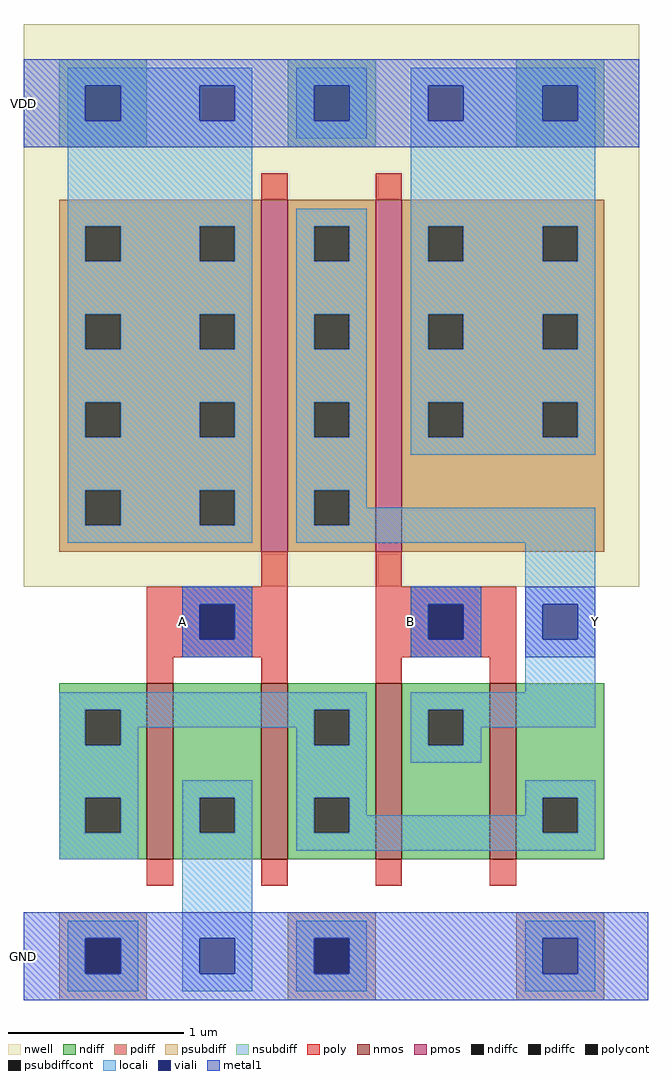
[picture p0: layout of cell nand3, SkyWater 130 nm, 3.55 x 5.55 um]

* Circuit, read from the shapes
.subckt nand3 A B Y VDD GND
XM1 GND A n1 GND sky130_fd_pr__nfet_01v8 w=1 l=0.15 m=2
XM2 Y B n1 GND sky130_fd_pr__nfet_01v8 w=1 l=0.15 m=2
XM3 Y A VDD n2 sky130_fd_pr__pfet_01v8 w=2 l=0.15
XM4 VDD B Y n2 sky130_fd_pr__pfet_01v8 w=2 l=0.15
.ends

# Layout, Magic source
magic
tech sky130A
<< nwell >>
rect -20 45 330 365
<< nmos >>
rect 50 -110 65 -10
rect 115 -110 130 -10
rect 180 -110 195 -10
rect 245 -110 260 -10
<< pmos >>
rect 115 65 130 265
rect 180 65 195 265
<< ndiff >>
rect 0 -25 50 -10
rect 0 -45 15 -25
rect 35 -45 50 -25
rect 0 -75 50 -45
rect 0 -95 15 -75
rect 35 -95 50 -75
rect 0 -110 50 -95
rect 65 -75 115 -10
rect 65 -95 80 -75
rect 100 -95 115 -75
rect 65 -110 115 -95
rect 130 -25 180 -10
rect 130 -45 145 -25
rect 165 -45 180 -25
rect 130 -75 180 -45
rect 130 -95 145 -75
rect 165 -95 180 -75
rect 130 -110 180 -95
rect 195 -25 245 -10
rect 195 -45 210 -25
rect 230 -45 245 -25
rect 195 -110 245 -45
rect 260 -75 310 -10
rect 260 -95 275 -75
rect 295 -95 310 -75
rect 260 -110 310 -95
<< pdiff >>
rect 0 250 115 265
rect 0 230 15 250
rect 35 230 80 250
rect 100 230 115 250
rect 0 200 115 230
rect 0 180 15 200
rect 35 180 80 200
rect 100 180 115 200
rect 0 150 115 180
rect 0 130 15 150
rect 35 130 80 150
rect 100 130 115 150
rect 0 100 115 130
rect 0 80 15 100
rect 35 80 80 100
rect 100 80 115 100
rect 0 65 115 80
rect 130 250 180 265
rect 130 230 145 250
rect 165 230 180 250
rect 130 200 180 230
rect 130 180 145 200
rect 165 180 180 200
rect 130 150 180 180
rect 130 130 145 150
rect 165 130 180 150
rect 130 100 180 130
rect 130 80 145 100
rect 165 80 180 100
rect 130 65 180 80
rect 195 250 310 265
rect 195 230 210 250
rect 230 230 275 250
rect 295 230 310 250
rect 195 200 310 230
rect 195 180 210 200
rect 230 180 275 200
rect 295 180 310 200
rect 195 150 310 180
rect 195 130 210 150
rect 230 130 275 150
rect 295 130 310 150
rect 195 65 310 130
<< ndiffc >>
rect 15 -45 35 -25
rect 15 -95 35 -75
rect 80 -95 100 -75
rect 145 -45 165 -25
rect 145 -95 165 -75
rect 210 -45 230 -25
rect 275 -95 295 -75
<< pdiffc >>
rect 15 230 35 250
rect 80 230 100 250
rect 15 180 35 200
rect 80 180 100 200
rect 15 130 35 150
rect 80 130 100 150
rect 15 80 35 100
rect 80 80 100 100
rect 145 230 165 250
rect 145 180 165 200
rect 145 130 165 150
rect 145 80 165 100
rect 210 230 230 250
rect 275 230 295 250
rect 210 180 230 200
rect 275 180 295 200
rect 210 130 230 150
rect 275 130 295 150
<< psubdiff >>
rect 0 -155 50 -140
rect 0 -175 15 -155
rect 35 -175 50 -155
rect 0 -190 50 -175
rect 130 -155 180 -140
rect 130 -175 145 -155
rect 165 -175 180 -155
rect 130 -190 180 -175
rect 260 -190 310 -140
<< nsubdiff >>
rect 0 295 50 345
rect 130 295 180 345
rect 260 295 310 345
<< psubdiffcont >>
rect 15 -175 35 -155
rect 145 -175 165 -155
<< poly >>
rect 115 265 130 280
rect 180 265 195 280
rect 115 45 130 65
rect 50 35 130 45
rect 50 15 80 35
rect 100 15 130 35
rect 50 5 130 15
rect 50 -10 65 5
rect 115 -10 130 5
rect 180 45 195 65
rect 180 35 260 45
rect 180 15 210 35
rect 230 15 260 35
rect 180 5 260 15
rect 180 -10 195 5
rect 245 -10 260 5
rect 50 -125 65 -110
rect 115 -125 130 -110
rect 180 -125 195 -110
rect 245 -125 260 -110
<< polycont >>
rect 80 15 100 35
rect 210 15 230 35
<< locali >>
rect 5 330 110 340
rect 5 310 15 330
rect 35 310 80 330
rect 100 310 110 330
rect 5 250 110 310
rect 135 330 175 340
rect 135 310 145 330
rect 165 310 175 330
rect 135 300 175 310
rect 200 330 305 340
rect 200 310 210 330
rect 230 310 275 330
rect 295 310 305 330
rect 5 230 15 250
rect 35 230 80 250
rect 100 230 110 250
rect 5 200 110 230
rect 5 180 15 200
rect 35 180 80 200
rect 100 180 110 200
rect 5 150 110 180
rect 5 130 15 150
rect 35 130 80 150
rect 100 130 110 150
rect 5 100 110 130
rect 5 80 15 100
rect 35 80 80 100
rect 100 80 110 100
rect 5 70 110 80
rect 135 250 175 260
rect 135 230 145 250
rect 165 230 175 250
rect 135 200 175 230
rect 135 180 145 200
rect 165 180 175 200
rect 135 150 175 180
rect 135 130 145 150
rect 165 130 175 150
rect 135 100 175 130
rect 200 250 305 310
rect 200 230 210 250
rect 230 230 275 250
rect 295 230 305 250
rect 200 200 305 230
rect 200 180 210 200
rect 230 180 275 200
rect 295 180 305 200
rect 200 150 305 180
rect 200 130 210 150
rect 230 130 275 150
rect 295 130 305 150
rect 200 120 305 130
rect 135 80 145 100
rect 165 90 175 100
rect 165 80 305 90
rect 135 70 305 80
rect 70 35 110 45
rect 70 15 80 35
rect 100 15 110 35
rect 70 5 110 15
rect 200 35 240 45
rect 200 15 210 35
rect 230 15 240 35
rect 200 5 240 15
rect 265 35 305 70
rect 265 15 275 35
rect 295 15 305 35
rect 265 -15 305 15
rect 0 -25 175 -15
rect 0 -45 15 -25
rect 35 -35 145 -25
rect 35 -45 45 -35
rect 0 -75 45 -45
rect 135 -45 145 -35
rect 165 -45 175 -25
rect 0 -95 15 -75
rect 35 -95 45 -75
rect 0 -110 45 -95
rect 70 -75 110 -65
rect 70 -95 80 -75
rect 100 -95 110 -75
rect 5 -155 45 -145
rect 5 -175 15 -155
rect 35 -175 45 -155
rect 5 -185 45 -175
rect 70 -155 110 -95
rect 135 -75 175 -45
rect 200 -25 305 -15
rect 200 -45 210 -25
rect 230 -35 305 -25
rect 230 -45 240 -35
rect 200 -55 240 -45
rect 135 -95 145 -75
rect 165 -85 175 -75
rect 265 -75 305 -65
rect 265 -85 275 -75
rect 165 -95 275 -85
rect 295 -95 305 -75
rect 135 -105 305 -95
rect 70 -175 80 -155
rect 100 -175 110 -155
rect 70 -185 110 -175
rect 135 -155 175 -145
rect 135 -175 145 -155
rect 165 -175 175 -155
rect 135 -185 175 -175
rect 265 -155 305 -145
rect 265 -175 275 -155
rect 295 -175 305 -155
rect 265 -185 305 -175
<< viali >>
rect 15 310 35 330
rect 80 310 100 330
rect 145 310 165 330
rect 210 310 230 330
rect 275 310 295 330
rect 80 15 100 35
rect 210 15 230 35
rect 275 15 295 35
rect 15 -175 35 -155
rect 80 -175 100 -155
rect 145 -175 165 -155
rect 275 -175 295 -155
<< metal1 >>
rect -20 330 330 345
rect -20 310 15 330
rect 35 310 80 330
rect 100 310 145 330
rect 165 310 210 330
rect 230 310 275 330
rect 295 310 330 330
rect -20 295 330 310
rect 70 35 110 45
rect 70 15 80 35
rect 100 15 110 35
rect 70 5 110 15
rect 200 35 240 45
rect 200 15 210 35
rect 230 15 240 35
rect 200 5 240 15
rect 265 35 305 45
rect 265 15 275 35
rect 295 15 305 35
rect 265 5 305 15
rect -20 -155 335 -140
rect -20 -175 15 -155
rect 35 -175 80 -155
rect 100 -175 145 -155
rect 165 -175 275 -155
rect 295 -175 335 -155
rect -20 -190 335 -175
<< labels >>
flabel metal1 70 25 70 25 7 FreeSans 80 0 -40 0 A
port 1 w
flabel metal1 200 25 200 25 7 FreeSans 80 0 -40 0 B
port 2 w
flabel metal1 305 25 305 25 3 FreeSans 80 0 40 0 Y
port 3 e
flabel metal1 -20 320 -20 320 7 FreeSans 80 0 -40 0 VDD
port 4 w
flabel metal1 -20 -165 -20 -165 7 FreeSans 80 0 -40 0 GND
port 5 w
<< end >>
